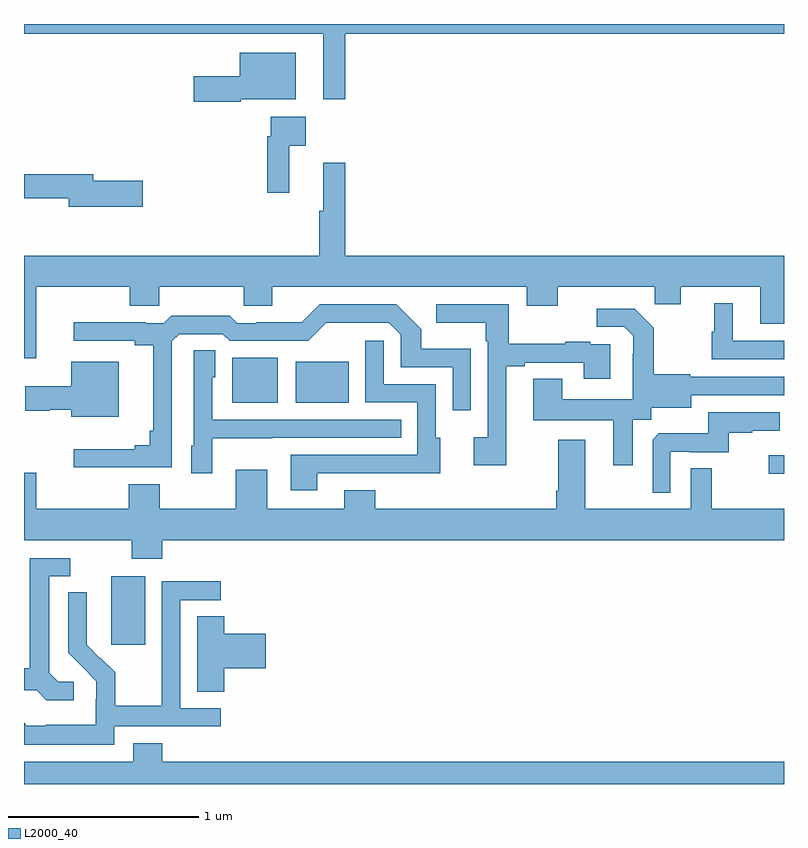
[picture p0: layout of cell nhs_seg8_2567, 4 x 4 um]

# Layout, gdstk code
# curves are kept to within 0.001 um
import gdstk
lib = gdstk.Library(unit=1e-6, precision=1e-09)
def R(c, l, rs):  # rectangles x0, y0, x1, y1
    for r in rs: c.add(gdstk.rectangle(r[:2], r[2:], *l))
def P(c, l, *ps):  # polygons
    for p in ps: c.add(gdstk.Polygon(p, *l))
L2000_40 = (2000, 40)

nhs_seg8_2567 = lib.new_cell('nhs_seg8_2567')
R(nhs_seg8_2567, L2000_40, [(273.458,1098.633,273.637,1098.994), (276.921,1099.532,277,1099.63), (274.097,1099.907,274.336,1100.143), (274.43,1099.907,274.708,1100.122)])
P(nhs_seg8_2567, L2000_40, [(274.691,1101.848),(277,1101.848),(277,1101.9),(273,1101.9),(273,1101.848),(274.574,1101.848),(274.574,1101.504),(274.691,1101.504)],
  [(274.14,1101.503),(274.429,1101.503),(274.429,1101.748),(274.136,1101.748),(274.136,1101.625),(273.894,1101.625),(273.894,1101.491),(274.14,1101.491)],
  [(274.397,1101.26),(274.483,1101.26),(274.483,1101.412),(274.299,1101.412),(274.299,1101.308),(274.279,1101.308),(274.279,1101.012),(274.397,1101.012)],
  [(275.645,1100.417),(275.809,1100.417),(275.809,1100.516),(276.319,1100.516),(276.319,1100.426),(276.457,1100.426),(276.457,1100.516),(276.875,1100.516),(276.875,1100.322),(277,1100.322),(277,1100.68),(274.691,1100.68),(274.691,1101.169),(274.574,1101.169),(274.574,1100.916),(274.555,1100.916),(274.555,1100.68),(273,1100.68),(273,1100.142),(273.064,1100.142),(273.064,1100.516),(273.556,1100.516),(273.556,1100.418),(273.711,1100.418),(273.711,1100.516),(274.156,1100.516),(274.156,1100.418),(274.306,1100.418),(274.306,1100.516),(275.645,1100.516)],
  [(273.625,1101.074),(273.364,1101.074),(273.364,1101.11),(273,1101.11),(273,1100.982),(273.236,1100.982),(273.236,1100.939),(273.625,1100.939)],
  [(277,1100.232),(276.73,1100.232),(276.73,1100.431),(276.632,1100.431),(276.632,1100.28),(276.621,1100.28),(276.621,1100.136),(277,1100.136)],
  [(273.777,1100.229),(273.816,1100.268),(274.047,1100.268),(274.083,1100.232),(274.497,1100.232),(274.592,1100.327),(274.92,1100.328),(274.983,1100.265),(274.983,1100.094),(275.256,1100.094),(275.256,1099.866),(275.352,1099.866),(275.352,1100.191),(275.091,1100.191),(275.091,1100.294),(274.96,1100.424),(274.557,1100.424),(274.463,1100.33),(274.222,1100.33),(274.222,1100.325),(274.122,1100.325),(274.083,1100.365),(273.775,1100.365),(273.735,1100.325),(273.641,1100.325),(273.641,1100.33),(273.261,1100.33),(273.261,1100.232),(273.584,1100.232),(273.584,1100.21),(273.68,1100.21),(273.68,1099.759),(273.661,1099.759),(273.661,1099.682),(273.584,1099.682),(273.584,1099.663),(273.261,1099.663),(273.261,1099.566),(273.777,1099.566)],
  [(275.539,1100.1),(275.635,1100.1),(275.635,1100.118),(275.945,1100.118),(275.945,1100.034),(276.085,1100.034),(276.085,1100.214),(275.981,1100.214),(275.981,1100.227),(275.849,1100.227),(275.849,1100.216),(275.551,1100.216),(275.551,1100.424),(275.169,1100.424),(275.169,1100.327),(275.43,1100.327),(275.43,1100.231),(275.442,1100.231),(275.442,1099.726),(275.367,1099.726),(275.367,1099.578),(275.539,1099.578)],
  [(276.205,1099.816),(276.3,1099.816),(276.3,1099.88),(276.511,1099.88),(276.511,1099.947),(277,1099.947),(277,1100.043),(276.507,1100.043),(276.507,1100.056),(276.315,1100.056),(276.315,1100.301),(276.215,1100.401),(276.015,1100.401),(276.015,1100.307),(276.159,1100.307),(276.206,1100.26),(276.206,1100.165),(276.204,1100.165),(276.204,1099.924),(275.833,1099.924),(275.833,1100.033),(275.681,1100.033),(275.681,1099.814),(276.101,1099.814),(276.101,1099.578),(276.205,1099.578)],
  [(274.543,1099.536),(274.973,1099.536),(274.973,1099.535),(275.191,1099.535),(275.191,1099.722),(275.166,1099.722),(275.166,1100.004),(274.893,1100.004),(274.893,1100.233),(274.797,1100.233),(274.797,1099.908),(275.07,1099.908),(275.07,1099.632),(274.403,1099.632),(274.403,1099.446),(274.543,1099.446)],
  [(273.99,1099.721),(274.307,1099.721),(274.307,1099.722),(274.985,1099.722),(274.985,1099.818),(273.99,1099.818),(273.99,1100.04),(274.006,1100.04),(274.006,1100.183),(273.894,1100.183),(273.894,1099.68),(273.881,1099.68),(273.881,1099.536),(273.99,1099.536)],
  [(273.499,1100.122),(273.248,1100.122),(273.248,1099.993),(273.006,1099.993),(273.006,1099.864),(273.135,1099.864),(273.135,1099.871),(273.248,1099.871),(273.248,1099.832),(273.499,1099.832)],
  [(276.402,1099.65),(276.502,1099.65),(276.502,1099.647),(276.71,1099.647),(276.71,1099.749),(276.833,1099.749),(276.833,1099.76),(276.977,1099.76),(276.977,1099.857),(276.6,1099.857),(276.6,1099.745),(276.341,1099.745),(276.309,1099.713),(276.309,1099.433),(276.402,1099.433)],
  [(273.728,1099.184),(277,1099.184),(277,1099.348),(276.619,1099.348),(276.619,1099.562),(276.51,1099.562),(276.51,1099.348),(275.953,1099.348),(275.953,1099.711),(275.813,1099.711),(275.813,1099.444),(275.801,1099.444),(275.801,1099.348),(274.849,1099.348),(274.849,1099.447),(274.685,1099.447),(274.685,1099.348),(274.279,1099.348),(274.279,1099.555),(274.115,1099.555),(274.115,1099.348),(273.715,1099.348),(273.715,1099.477),(273.551,1099.477),(273.551,1099.348),(273.064,1099.348),(273.064,1099.537),(273,1099.537),(273,1099.184),(273.568,1099.184),(273.568,1099.085),(273.728,1099.085)],
  [(273.262,1098.438),(273.18,1098.438),(273.133,1098.485),(273.133,1098.993),(273.244,1098.993),(273.244,1099.089),(273.029,1099.089),(273.029,1098.509),(273,1098.509),(273,1098.393),(273.066,1098.393),(273.118,1098.341),(273.262,1098.341)],
  [(273.474,1098.204),(274.036,1098.204),(274.036,1098.3),(273.822,1098.3),(273.822,1098.867),(274.036,1098.867),(274.036,1098.966),(273.726,1098.966),(273.726,1098.536),(273.724,1098.536),(273.724,1098.313),(273.479,1098.313),(273.479,1098.487),(273.402,1098.564),(273.399,1098.561),(273.329,1098.632),(273.33,1098.908),(273.234,1098.908),(273.234,1098.59),(273.38,1098.442),(273.38,1098.345),(273.378,1098.345),(273.378,1098.211),(273.115,1098.211),(273.115,1098.207),(273.015,1098.207),(273,1098.222),(273,1098.107),(273.474,1098.107)],
  [(274.055,1098.509),(274.273,1098.509),(274.273,1098.692),(274.055,1098.692),(274.055,1098.782),(273.911,1098.782),(273.911,1098.385),(274.055,1098.385)],
  [(277,1098.016),(273.728,1098.016),(273.728,1098.115),(273.575,1098.115),(273.575,1098.016),(273,1098.016),(273,1097.9),(277,1097.9)])

lib.write_gds('nhs_seg8_2567.gds')
